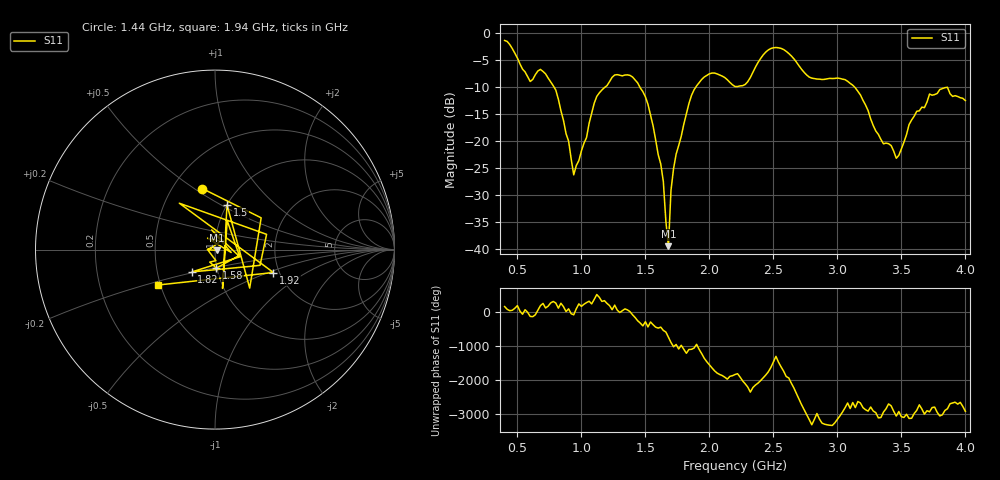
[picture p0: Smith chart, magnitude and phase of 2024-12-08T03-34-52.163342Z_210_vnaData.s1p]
!Created with skrf (http://scikit-rf.org).
# Hz S RI R 50.0
!freq ReS11 ImS11
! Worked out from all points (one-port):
!   181 points, 400 MHz to 4 GHz, reference 50 ohm
!   lowest |S11| = -39.4 dB at 1.68 GHz (marker M1), VSWR 1.02, Z = 51 - j0.445 ohm
!   |S11| at or under -10 dB: 787.3 MHz to 1.183 GHz (395.4 MHz wide, 40.1 % of centre); 1.458 GHz to 1.893 GHz (435.2 MHz wide, 26 % of centre); 3.136 GHz to 3.859 GHz (722.3 MHz wide, 20.7 % of centre) (the widest 3 of 4)
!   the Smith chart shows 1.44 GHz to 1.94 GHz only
!   S11 on the Smith chart (normalised r, x): 1.44 GHz: 0.70, +0.54; 1.5 GHz: 1.00, +0.53; 1.58 GHz: 0.99, -0.21; 1.82 GHz: 0.75, -0.19; 1.92 GHz: 1.86, -0.54; 1.94 GHz: 0.48, -0.22
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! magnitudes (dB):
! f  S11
! 400 MHz  -1.3
! 600 MHz  -8.9
! 720 MHz  -7.5
! 800 MHz  -10.5
! 860 MHz  -16.1
! 940 MHz  -26.2
! 1.12 GHz  -11.7
! 1.3 GHz  -7.8
! 1.44 GHz  -9.2
! 1.5 GHz  -11.8
! 1.58 GHz  -19.7
! 1.64 GHz  -27.4
! 1.68 GHz  -39.4
! 1.7 GHz  -29.0
! 1.76 GHz  -20.8
! 1.82 GHz  -14.9
! 1.92 GHz  -9.1
! 1.94 GHz  -8.5
! 2.04 GHz  -7.4
! 2.2 GHz  -9.9
! 2.48 GHz  -2.8
! 2.66 GHz  -4.7
! 2.78 GHz  -8.1
! 3.1 GHz  -9.3
! 3.46 GHz  -23.1
! 3.56 GHz  -16.9
! 3.8 GHz  -10.4
! 4 GHz  -12.5
